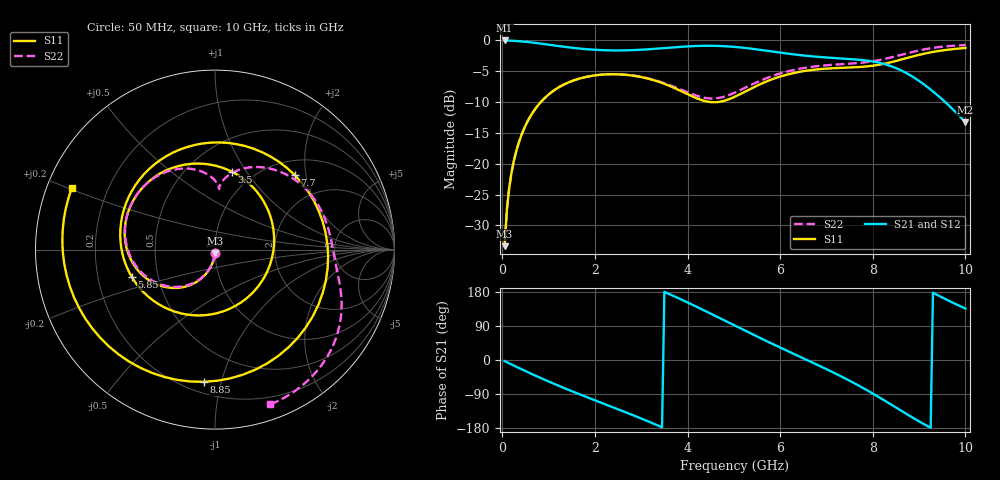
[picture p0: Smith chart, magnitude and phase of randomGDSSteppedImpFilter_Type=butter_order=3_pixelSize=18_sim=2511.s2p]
! freq	dB(S11)	phase(S11)	dB(S12)	phase(S12)
!  dB(S21)	phase(S21)	dB(S22)	phase(S22)
!S-par simulation data
#  GHz  S  DB  R 50
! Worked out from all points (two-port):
!   200 points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, 50 MHz to 10 GHz, reference 50 ohm
!   highest |S21| = -0.01 dB at 50 MHz (marker M1); lowest = -13.3 dB at 10 GHz (marker M2)
!   |S21| within 3 dB of the highest: start of sweep to 7.505 GHz
!   lowest |S11| = -33.4 dB at 50 MHz (marker M3), VSWR 1.04, Z = 49.8 - j2.13 ohm
!   |S11| at or under -10 dB: start of sweep to 832.2 MHz; 4.494 GHz to 4.655 GHz (160.4 MHz wide, 3.51 % of centre)
!   |S22| runs from -33.4 to -0.8 dB; largest |S21 - S12| = 0
!   S11 on the Smith chart (normalised r, x): 50 MHz: 1.00, -0.04; 3.5 GHz: 0.79, +0.86; 5.85 GHz: 0.35, -0.14; 7.7 GHz: 1.31, +1.73; 8.85 GHz: 0.27, -0.88; 10 GHz: 0.07, +0.21
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0.05  -33.38 -93.0  -0.01 -3.0  -0.01 -3.0  -33.36 -93.1
0.1  -27.37 -96.0  -0.02 -6.0  -0.02 -6.0  -27.37 -96.3
0.2  -21.41 -102.0  -0.05 -11.9  -0.05 -11.9  -21.42 -102.4
0.5  -13.82 -119.2  -0.22 -29.2  -0.22 -29.2  -13.83 -120.2
1.1  -8.19 -151.6  -0.80 -62.0  -0.80 -62.0  -8.20 -153.4
1.75  -6.02 175.8  -1.38 -94.4  -1.38 -94.4  -6.02 174.3
2.5  -5.50 138.4  -1.63 -130.1  -1.63 -130.1  -5.49 140.7
3.4  -6.77 85.1  -1.30 -174.9  -1.30 -174.9  -6.67 105.1
3.5  -7.04 77.9  -1.25 179.8  -1.25 179.8  -6.93 101.8
4.3  -9.67 3.2  -0.88 134.3  -0.88 134.3  -9.20 86.4
5.05  -9.03 -87.5  -1.07 88.9  -1.07 88.9  -8.37 84.0
5.85  -6.24 -161.5  -1.82 41.5  -1.82 41.5  -5.72 62.8
6.3  -5.28 163.9  -2.27 15.9  -2.27 15.9  -4.78 46.4
6.7  -4.78 133.5  -2.59 -6.8  -2.59 -6.8  -4.27 31.7
7.25  -4.47 87.6  -2.89 -39.1  -2.89 -39.1  -3.89 13.3
7.7  -4.32 43.0  -3.12 -67.8  -3.12 -67.8  -3.66 0.6
8.05  -4.05 2.8  -3.48 -92.1  -3.48 -92.1  -3.32 -8.0
8.35  -3.62 -34.3  -4.06 -114.1  -4.06 -114.1  -2.84 -15.4
8.85  -2.62 -94.9  -5.84 -151.2  -5.84 -151.2  -1.88 -30.0
9.1  -2.17 -122.3  -7.11 -168.9  -7.11 -168.9  -1.47 -38.4
9.45  -1.68 -156.8  -9.23 168.0  -9.23 168.0  -1.06 -50.8
10  -1.22 156.7  -13.29 135.9  -13.29 135.9  -0.76 -70.3
